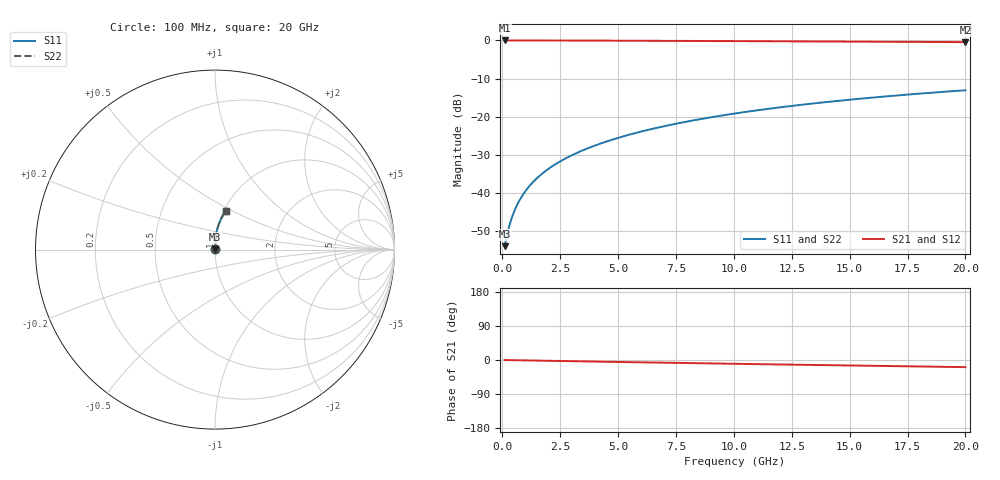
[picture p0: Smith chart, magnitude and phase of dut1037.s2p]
! Touchstone file exported from HFSS 2024.1.0
!  File:  C:/UserFiles/LocalFiles/RDL_TSV_Batchsim/temp_RDL_top_1037_1780043916.aedt
!  Generated:  04:41:26 PM May 29, 2026
!  Design:  RDL_top
!  Project:  temp_RDL_top_1037_1780043916
!  Setup:  Setup1
!  Solution:  Sweep
! Variables:
!  dtsv = 10.80580581um
!  hbump = 3um
!  htsv = 58.03um
!  ldown = 100um
!  lrdl = 218.84um
!  p = 40
!  p1 = 49.83um
!  rhole = 1um
!  t = 450um
!  tdown = 3.915915916um
!  trdl = 2.85um
!  wdown = 15.38538539um
!  wrdl = 19.13um
# GHz S MA R 50.000000
! Terminal data exported
! Port[1] = Box2_T1
! Port[2] = Box2_T2
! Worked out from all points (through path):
!   200 points, 100 MHz to 20 GHz, reference 50 ohm
!   highest |S21| = -0.01 dB at 100 MHz (marker M1); lowest = -0.4 dB at 20 GHz (marker M2)
!   group delay of S21, straight-line fit = 2.6 ps
!   lowest |S11| = -54.0 dB at 100 MHz (marker M3), VSWR 1.00, Z = 50.2 + j0.11 ohm
!   |S11| at or under -10 dB: start of sweep to end of sweep
!   |S22| runs from -54.0 to -13.1 dB; largest |S21 - S12| = 3.4e-15
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0.1  0.002004 33.2  0.9983 -0.1  0.9983 -0.1  0.002004 33.2
! Gamma 0 0 0 0
! Port Impedance 50 0 50 0
0.2  0.002771 51.6  0.9983 -0.2  0.9983 -0.2  0.002771 51.6
0.3  0.003674 61.2  0.9982 -0.3  0.9982 -0.3  0.003674 61.2
0.4  0.004624 67.0  0.9981 -0.4  0.9981 -0.4  0.004623 67.0
0.5  0.005594 70.8  0.9981 -0.5  0.9981 -0.5  0.005594 70.8
0.6  0.006577 73.5  0.998 -0.7  0.998 -0.7  0.006577 73.5
0.8  0.008566 77.1  0.9978 -0.9  0.9978 -0.9  0.008566 77.1
1.1  0.01158 80.2  0.9976 -1.2  0.9976 -1.2  0.01158 80.2
1.5  0.01563 82.6  0.9973 -1.6  0.9973 -1.6  0.01563 82.6
1.8  0.0187 83.7  0.997 -1.9  0.997 -1.9  0.0187 83.7
2.1  0.02178 84.5  0.9967 -2.2  0.9967 -2.2  0.02178 84.5
2.7  0.028 85.6  0.9959 -2.9  0.9959 -2.9  0.028 85.6
3.5  0.03644 86.3  0.9946 -3.7  0.9946 -3.7  0.03644 86.3
4.2  0.04396 86.6  0.9933 -4.4  0.9933 -4.4  0.04396 86.6
5  0.05269 86.7  0.9916 -5.2  0.9916 -5.2  0.05269 86.7
5.9  0.06268 86.5  0.9895 -6.1  0.9895 -6.1  0.06268 86.5
6.8  0.07282 86.2  0.9873 -7.0  0.9873 -7.0  0.07282 86.2
8.4  0.09109 85.2  0.9832 -8.5  0.9832 -8.5  0.09109 85.2
10.1  0.1107 83.9  0.9786 -10.1  0.9786 -10.1  0.1107 83.9
13.4  0.1487 81.0  0.9694 -13.1  0.9694 -13.1  0.1487 81.0
16.7  0.1859 77.8  0.9598 -16.0  0.9598 -16.0  0.1859 77.8
20  0.222 74.7  0.9497 -18.8  0.9497 -18.8  0.222 74.7
